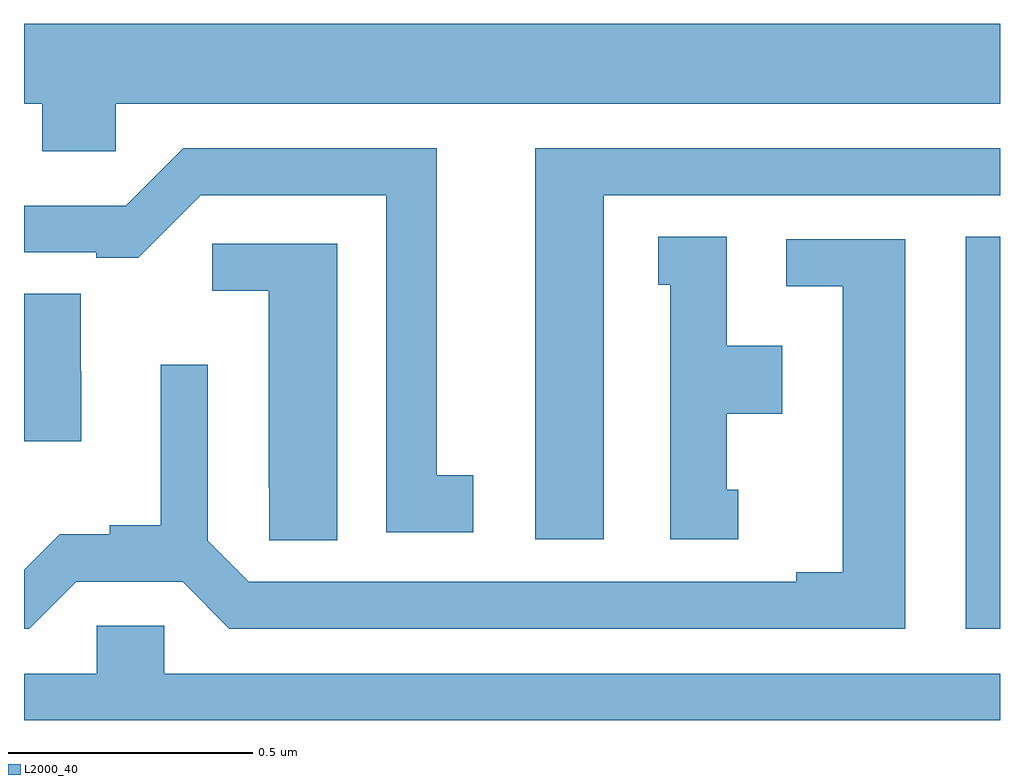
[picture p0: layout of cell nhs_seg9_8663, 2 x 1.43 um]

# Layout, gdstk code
import gdstk
lib = gdstk.Library(unit=1e-6, precision=1e-09)
def R(c, l, rs):  # rectangles x0, y0, x1, y1
    for r in rs: c.add(gdstk.rectangle(r[:2], r[2:], *l))
def P(c, l, *ps):  # polygons
    for p in ps: c.add(gdstk.Polygon(p, *l))
L2000_40 = (2000, 40)

nhs_seg9_8663 = lib.new_cell('nhs_seg9_8663')
R(nhs_seg9_8663, L2000_40, [(221.93,1184.688,222,1185.491)])
P(nhs_seg9_8663, L2000_40, [(220.188,1185.764),(222,1185.764),(222,1185.928),(220,1185.928),(220,1185.764),(220.037,1185.764),(220.037,1185.666),(220.188,1185.666)],
  [(221.188,1185.576),(222,1185.576),(222,1185.672),(221.048,1185.672),(221.048,1184.871),(221.188,1184.871)],
  [(220.921,1185.002),(220.846,1185.002),(220.846,1185.672),(220.326,1185.672),(220.209,1185.555),(220,1185.555),(220,1185.459),(220.148,1185.459),(220.148,1185.448),(220.234,1185.448),(220.362,1185.576),(220.742,1185.576),(220.742,1184.886),(220.921,1184.886)],
  [(221.464,1184.973),(221.44,1184.973),(221.44,1185.128),(221.554,1185.128),(221.554,1185.268),(221.44,1185.268),(221.44,1185.491),(221.3,1185.491),(221.3,1185.393),(221.324,1185.393),(221.324,1184.871),(221.464,1184.871)],
  [(220.107,1184.784),(220.325,1184.784),(220.421,1184.688),(221.806,1184.688),(221.806,1185.486),(221.562,1185.486),(221.562,1185.39),(221.678,1185.39),(221.678,1184.804),(221.582,1184.804),(221.582,1184.784),(220.461,1184.784),(220.377,1184.868),(220.377,1185.229),(220.28,1185.229),(220.28,1184.9),(220.176,1184.9),(220.176,1184.882),(220.073,1184.882),(220,1184.809),(220,1184.688),(220.011,1184.688)],
  [(220.642,1185.477),(220.386,1185.477),(220.386,1185.38),(220.502,1185.38),(220.502,1184.977),(220.503,1184.977),(220.503,1184.869),(220.642,1184.869)],
  [(220.117,1185.216),(220.116,1185.216),(220.116,1185.374),(220,1185.374),(220,1185.072),(220.117,1185.072)],
  [(222,1184.596),(220.287,1184.596),(220.287,1184.694),(220.149,1184.694),(220.149,1184.596),(220,1184.596),(220,1184.5),(222,1184.5)])

lib.write_gds('nhs_seg9_8663.gds')
